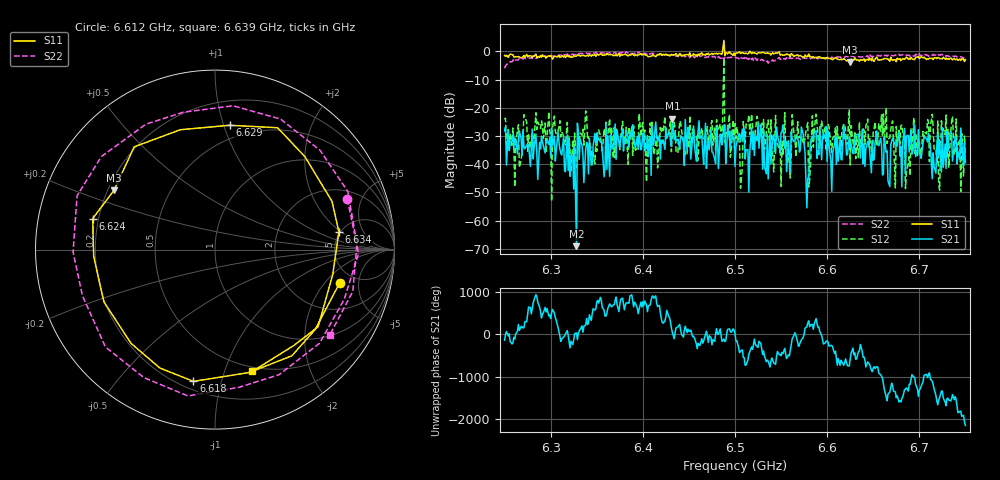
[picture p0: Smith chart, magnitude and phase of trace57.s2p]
# Hz S RI R 50
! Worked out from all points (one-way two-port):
!   401 points, 6.25 GHz to 6.75 GHz, reference 50 ohm
!   highest |S21| = -23.81 dB at 6.432 GHz (marker M1); lowest = -69.1 dB at 6.328 GHz (marker M2)
!   lowest |S11| = -3.7 dB at 6.625 GHz (marker M3), VSWR 4.75, Z = 11.3 + j13 ohm
!   |S11| at or under -10 dB: nowhere
!   |S22| runs from -6.0 to 0.0 dB; largest |S21 - S12| = 0.73
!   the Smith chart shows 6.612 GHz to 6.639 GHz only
!   S11 on the Smith chart (normalised r, x): 6.612 GHz: 3.80, -2.91; 6.618 GHz: 0.25, -0.82; 6.624 GHz: 0.18, +0.12; 6.629 GHz: 0.39, +1.05; 6.634 GHz: 4.86, +1.87; 6.639 GHz: 0.46, -1.25
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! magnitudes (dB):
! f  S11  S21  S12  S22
! 6.25 GHz  -1.4  -28.2  -24.1  -6.0
! 6.328 GHz  -1.7  -69.1  -41.1  -1.0
! 6.334 GHz  -1.4  -33.3  -29.7  -0.7
! 6.418 GHz  -1.1  -29.8  -32.8  -1.2
! 6.432 GHz  -1.2  -23.8  -29.6  -1.3
! 6.5 GHz  -1.4  -40.8  -25.6  -2.1
! 6.574 GHz  -2.0  -29.4  -32.3  -2.3
! 6.579 GHz  -1.7  -44.9  -25.3  -2.6
! 6.584 GHz  -2.2  -30.0  -22.8  -2.3
! 6.612 GHz  -2.9  -38.9  -31.3  -2.1
! 6.618 GHz  -2.6  -25.9  -25.7  -2.1
! 6.624 GHz  -3.1  -30.4  -20.8  -2.1
! 6.625 GHz  -3.7  -34.1  -40.3  -2.0
! 6.629 GHz  -3.1  -36.2  -34.4  -2.0
! 6.634 GHz  -3.1  -29.5  -37.6  -1.9
! 6.639 GHz  -3.0  -39.8  -27.5  -2.0
! 6.668 GHz  -3.4  -48.0  -30.7  -1.3
! 6.68 GHz  -3.3  -33.7  -26.3  -1.2
! 6.688 GHz  -2.7  -29.8  -39.7  -1.4
! 6.708 GHz  -2.9  -31.0  -29.2  -1.3
! 6.72 GHz  -2.2  -29.2  -24.7  -1.1
! 6.75 GHz  -2.9  -39.5  -36.4  -2.5
